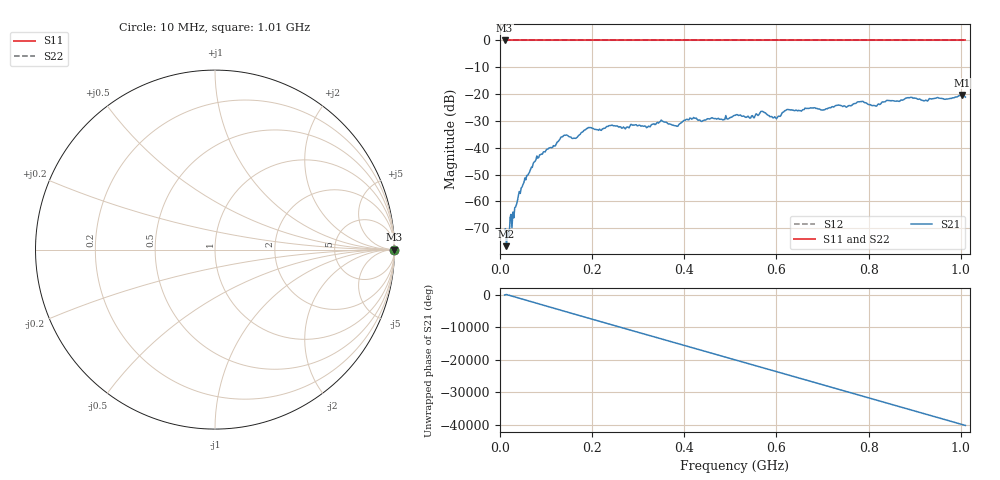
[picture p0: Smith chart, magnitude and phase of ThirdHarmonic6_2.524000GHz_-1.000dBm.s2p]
! 8/17/2025 4:59:31 AM
! C:\ANRITSUVNA\TEMP\TEMP.S2P
! CHANNEL.1
! TR.MEASUREMENT
! RAW.DATA
! RF.CORRECTION.OFF
! AVERAGING.OFF
! IF.BANDWIDTH: 5KHZ
! SWEEPTYPE:  FREQ.SWEEP(Linear)
! Reference Plane Port Info
! PORT:  PORT1  PORT2
! DISTANCE:  0  m  0  m
! TIME:  0  s  0  s
! PHASE.OFFSET:  0  deg.  0  deg.
! LOSS:  0  dB  0  dB
! REF.LOSS:  0  dB  0  dB
! REF.FREQ:  0  Hz  0  Hz
! Power Info
! POWER:  -20  dBm  -20  dBm
! EFF.POWER:  -20  dBm  -20  dBm
! SOURCE.ATTEN:  0  dB  0  dB
! TEST.ATTEN:  0  dB  0  dB
# GHZ S RI R 50.0
! FREQ.GHZ  S11RE  S11IM  S21RE  S21IM  S12RE  S12IM  S22RE  S22IM
!; PortSelection: Port_12
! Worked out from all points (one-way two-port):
!   501 points, 10 MHz to 1.01 GHz, reference 50 ohm
!   highest |S21| = -20.32 dB at 1.002 GHz (marker M1); lowest = -76.7 dB at 14 MHz (marker M2)
!   lowest |S11| = 0.0 dB at 10 MHz (marker M3)
!   |S11| at or under -10 dB: nowhere
!   |S22| runs from 0.0 to 0.0 dB; largest |S21 - S12| = 1.1
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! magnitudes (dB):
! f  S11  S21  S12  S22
! 10 MHz  0.0  -70.6  0.0  0.0
! 14 MHz  0.0  -76.7  0.0  0.0
! 18 MHz  0.0  -70.7  0.0  0.0
! 50 MHz  0.0  -53.6  0.0  0.0
! 76 MHz  0.0  -45.1  0.0  0.0
! 136 MHz  0.0  -35.9  0.0  0.0
! 162 MHz  0.0  -36.5  0.0  0.0
! 178 MHz  0.0  -34.2  0.0  0.0
! 344 MHz  0.0  -30.8  0.0  0.0
! 382 MHz  0.0  -31.8  0.0  0.0
! 416 MHz  0.0  -29.4  0.0  0.0
! 510 MHz  0.0  -27.9  0.0  0.0
! 548 MHz  0.0  -28.0  0.0  0.0
! 570 MHz  0.0  -26.5  0.0  0.0
! 598 MHz  0.0  -28.8  0.0  0.0
! 622 MHz  0.0  -25.8  0.0  0.0
! 678 MHz  0.0  -25.2  0.0  0.0
! 784 MHz  0.0  -22.8  0.0  0.0
! 814 MHz  0.0  -24.3  0.0  0.0
! 844 MHz  0.0  -22.4  0.0  0.0
! 1.002 GHz  0.0  -20.3  0.0  0.0
! 1.01 GHz  0.0  -21.1  0.0  0.0
